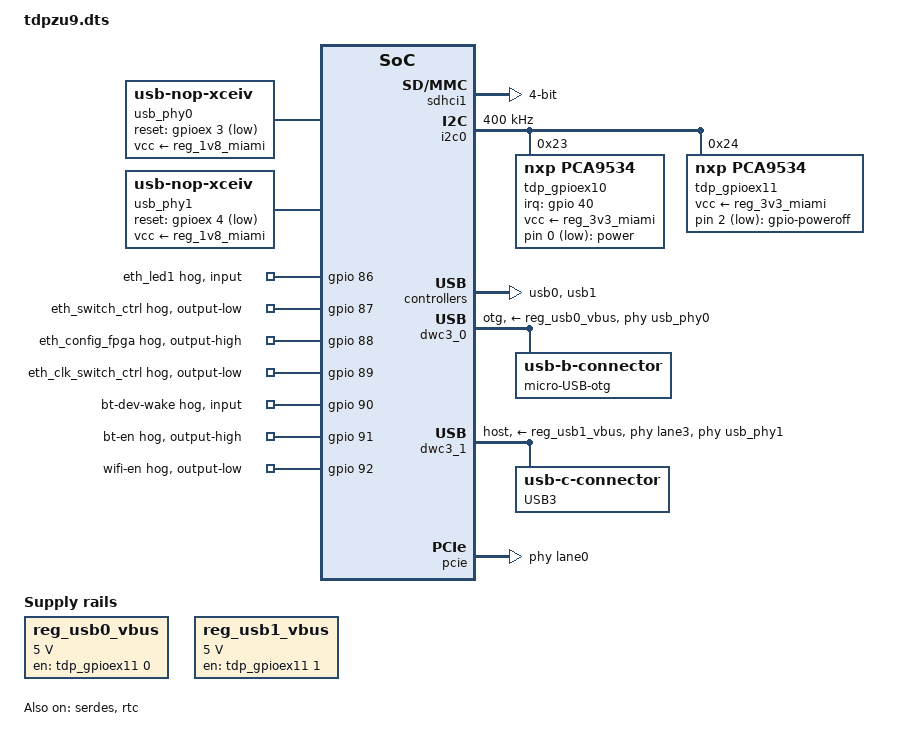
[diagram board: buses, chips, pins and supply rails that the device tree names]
/*
 * dts file for tdpzu9 (Topic Developmentkit Plus) board without PL
 *
 * (C) Copyright 2020, Topic Embedded Products BV
 *
 * This program is free software; you can redistribute it and/or
 * modify it under the terms of the GNU General Public License as
 * published by the Free Software Foundation; either version 2 of
 * the License, or (at your option) any later version.
 */

#include "zynqmp-topic-miamiplusmp.dts"

/ {
	gpio-poweroff {
		compatible = "gpio-poweroff";
		gpios = <&tdp_gpioex11 2 GPIO_ACTIVE_LOW>;
		force-pm-power-off; /* Replace the PSCI power-off callback */
	};

	gpio-key-power {
		compatible = "gpio-keys";
		#address-cells = <1>;
		#size-cells = <0>;
		power {
			label = "power";
			gpios = <&tdp_gpioex10 0 GPIO_ACTIVE_LOW>; /* Input 0, active low */
			linux,code = <116>; /* KEY_POWER */
			gpio-key,wakeup;
		};
	};

	/* Regulator for the 5V USB VBUS power line. */
	reg_usb0_vbus: regulator-usb0 {
		compatible = "regulator-fixed";
		regulator-name = "usb0-vbus";
		regulator-min-microvolt = <5000000>;
		regulator-max-microvolt = <5000000>;
		gpio = <&tdp_gpioex11 0 0>;
		enable-active-high;
	};
	reg_usb1_vbus: regulator-usb1 {
		compatible = "regulator-fixed";
		regulator-name = "usb1-vbus";
		regulator-min-microvolt = <5000000>;
		regulator-max-microvolt = <5000000>;
		gpio = <&tdp_gpioex11 1 0>;
		enable-active-high;
	};

	/* USB PHY reset IO pin */
	usb_phy0: usb2phy0 {
		compatible = "usb-nop-xceiv";
		vcc-supply = <&reg_1v8_miami>;
		#phy-cells = <0>;
		reset-gpios = <&gpioex 3 GPIO_ACTIVE_LOW>;
	};
	usb_phy1: usb2phy1 {
		compatible = "usb-nop-xceiv";
		vcc-supply = <&reg_1v8_miami>;
		#phy-cells = <0>;
		reset-gpios = <&gpioex 4 GPIO_ACTIVE_LOW>;
	};
};

/* SD1 */
&sdhci1 {
	status = "okay";
	bus-width = <4>;
	xlnx,mio_bank = <1>;
	no-1-8-v; /* No UHS capability, 3v3 only */
	/delete-property/ disable-wp; /* WP is connected on this board */
};

&i2c0 {
	status = "okay";
	clock-frequency = <400000>;

	/* GPIO expander U10 */
	tdp_gpioex10: pca9534@23 {
		compatible = "nxp,pca9534";
		reg = <0x23>;
		vcc-supply = <&reg_3v3_miami>;
		gpio-line-names = "PWR_BTN_IRQ_N", "PEWAKE0", "USB_OTG_OC_N0", "USB_OTG_OC_N1", "PRSNT_M2C_N0", "PRSNT_M2C_N1", "PG_M2C0", "PG_M2C1";
		gpio-controller;
		#gpio-cells = <2>;
		interrupt-controller;
		interrupt-parent = <&gpio>;
		interrupts = <40 IRQ_TYPE_LEVEL_LOW>;
	};

	/* GPIO expander U11 */
	tdp_gpioex11: pca9534@24 {
		compatible = "nxp,pca9534";
		reg = <0x24>;
		vcc-supply = <&reg_3v3_miami>;
		gpio-line-names = "USB_OTG_EN0", "USB_OTG_EN1", "PWR_KILL_N", "", "", "", "", "";
		gpio-controller;
		#gpio-cells = <2>;
		/* Drive unused outputs low to prevent interrupts */
		hog3 {
			gpio-hog;
			gpios = <3 0>;
			output-low;
		};
		hog4 {
			gpio-hog;
			gpios = <4 0>;
			output-low;
		};
		hog5 {
			gpio-hog;
			gpios = <5 0>;
			output-low;
		};
		hog6 {
			gpio-hog;
			gpios = <6 0>;
			output-low;
		};
		hog7 {
			gpio-hog;
			gpios = <7 0>;
			output-low;
		};
	};
};

&usb0 {
	status = "okay";
	/* see: https://forums.xilinx.com/t5/Embedded-Linux/Zynqmp-USB2-0/td-p/790522/page/2 */
	/delete-property/ clocks;
	/delete-property/ clock-names;
	clocks = <&zynqmp_clk USB0_BUS_REF>;
	clock-names = "bus_clk";
};

&uart1 {
	status = "disabled";
};

&dwc3_0 {
	status = "okay";
	dr_mode = "otg"; /* "host", "peripheral" or "otg" */
	maximum-speed = "high-speed"; /* super-speed not available on carrier */
	/* see: https://forums.xilinx.com/t5/Embedded-Linux/Zynqmp-USB2-0/td-p/790522/page/2 */
	snps,dis_u2_susphy_quirk;
	snps,dis_u3_susphy_quirk;
	/delete-property/ phy-names;
	/delete-property/ phys;
	/delete-property/ snps,usb3_lpm_capable;
	usb-phy = <&usb_phy0>;
	vbus-supply = <&reg_usb0_vbus>;
	connector {
		compatible = "usb-b-connector";
		label = "micro-USB-otg";
		type = "micro";
	};
};

&usb1 {
	status = "okay";
};

&dwc3_1 {
	status = "okay";
	dr_mode = "host";
	/* refclk for USB3 from clock synth */
	assigned-clocks      = <&si5345 0 8>;
	assigned-clock-rates = <26000000>;
	phy-names = "usb3-phy";
	phys = <&lane3 PHY_TYPE_USB3 1 3 26000000>;
	maximum-speed = "super-speed";
	snps,usb3_lpm_capable;
	usb-phy = <&usb_phy1>;
	vbus-supply = <&reg_usb1_vbus>;
	connector {
		compatible = "usb-c-connector";
		label = "USB3";
	};
};

&pcie {
	status = "okay";
	phys = <&lane0 PHY_TYPE_PCIE 0 0 100000000>;
	/* refclk0 from clock synth */
	assigned-clocks      = <&si5345 0 0>;
	assigned-clock-rates =   <100000000>;
};

&gpio {
	eth-led1 {
		gpio-hog;
		gpios = <86 0>; /* EMIO 8 */
		input;
		line-name = "eth_led1";
	};
	eth-switch-ctrl {
		gpio-hog;
		gpios = <87 0>; /* EMIO 9 */
		output-low;
		line-name = "eth_switch_ctrl";
	};
	eth-config-fpga {
		gpio-hog;
		gpios = <88 0>; /* EMIO 10 */
		output-high;
		line-name = "eth_config_fpga";
	};
	eth-clk-switch-ctrl {
		gpio-hog;
		gpios = <89 0>; /* EMIO 11 */
		output-low;
		line-name = "eth_clk_switch_ctrl";
	};
	bt-dev-wake {
		gpio-hog;
		gpios = <90 0>; /* EMIO 12 */
		input;
		line-name = "bt-dev-wake";
	};
	bt-en {
		gpio-hog;
		gpios = <91 0>; /* EMIO 13 */
		output-high; /* Enable by default */
		line-name = "bt-en";
	};
	wifi-en {
		gpio-hog;
		gpios = <92 0>; /* EMIO 14 */
		output-low; /* Disable, no SDIO controller available */
		line-name = "wifi-en";
	};
};

&serdes {
	status = "okay";
};

/* Postpone ethernet until after FPGA programming to workaround "spike" on IO pads issue */
&gem2 {
	status = "disabled";
};

/* Carrier provides VBAT for RTC */
&rtc {
	status = "okay";
};
